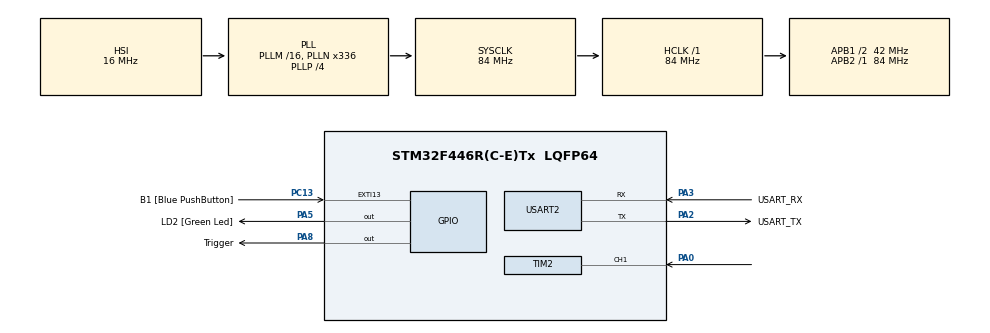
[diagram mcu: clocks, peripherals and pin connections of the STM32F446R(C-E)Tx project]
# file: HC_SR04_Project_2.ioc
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Mcu.Family=STM32F4
Mcu.Name=STM32F446R(C-E)Tx
Mcu.Package=LQFP64
NVIC.PriorityGroup=NVIC_PRIORITYGROUP_0
NVIC.TIM2_IRQn=true\:0\:0\:false\:false\:true\:true\:true
PA0-WKUP.Signal=S_TIM2_CH1_ETR
PA13.GPIO_Label=TMS
PA13.Mode=Serial_Wire
PA13.Signal=SYS_JTMS-SWDIO
PA14.GPIO_Label=TCK
PA14.Mode=Serial_Wire
PA14.Signal=SYS_JTCK-SWCLK
PA2.GPIO_Label=USART_TX
PA2.Mode=Asynchronous
PA2.Signal=USART2_TX
PA3.GPIO_Label=USART_RX
PA3.Mode=Asynchronous
PA3.Signal=USART2_RX
PA5.GPIO_Label=LD2 [Green Led]
PA5.Signal=GPIO_Output
PA8.GPIO_Label=Trigger
PA8.Signal=GPIO_Output
PB3.GPIO_Label=SWO
PB3.Signal=SYS_JTDO-SWO
PC13.GPIO_Label=B1 [Blue PushButton]
PC13.GPIO_ModeDefaultEXTI=GPIO_MODE_IT_FALLING
PC13.Signal=GPXTI13
PC14-OSC32_IN.Signal=RCC_OSC32_IN
PC15-OSC32_OUT.Signal=RCC_OSC32_OUT
PH0-OSC_IN.Signal=RCC_OSC_IN
PH1-OSC_OUT.Signal=RCC_OSC_OUT
ProjectManager.HeapSize=0x200
ProjectManager.StackSize=0x400
ProjectManager.TargetToolchain=STM32CubeIDE
RCC.48MHZClocksFreq_Value=84000000
RCC.AHBFreq_Value=84000000
RCC.APB1CLKDivider=RCC_HCLK_DIV2
RCC.APB1Freq_Value=42000000
RCC.APB1TimFreq_Value=84000000
RCC.APB2Freq_Value=84000000
RCC.APB2TimFreq_Value=84000000
RCC.CortexFreq_Value=84000000
RCC.FLatency-AdvancedSettings=FLASH_LATENCY_2
RCC.HCLKFreq_Value=84000000
RCC.HSE_VALUE=8000000
RCC.HSI_VALUE=16000000
RCC.PLLN=336
RCC.PLLP=RCC_PLLP_DIV4
RCC.SYSCLKFreq_VALUE=84000000
RCC.SYSCLKSource=RCC_SYSCLKSOURCE_PLLCLK
RCC.USBFreq_Value=168000000
RCC.VCOOutputFreq_Value=336000000
SH.S_TIM2_CH1_ETR.0=TIM2_CH1,Input_Capture1_from_TI1
TIM2.Channel-Input_Capture1_from_TI1=TIM_CHANNEL_1
TIM2.ICFilter_CH1=5
TIM2.ICPolarity_CH1=TIM_INPUTCHANNELPOLARITY_BOTHEDGE
TIM2.Period=0xffffffff
TIM2.Prescaler=84-1
TIM2.TIM_MasterOutputTrigger=TIM_TRGO_RESET
TIM3.Period=0
TIM3.Prescaler=84-1
USART2.VirtualMode=VM_ASYNC
VP_TIM2_VS_ClockSourceINT.Mode=Internal
VP_TIM3_VS_ClockSourceINT.Mode=Internal
board=NUCLEO-F446RE

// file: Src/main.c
/* USER CODE BEGIN Header */
/**
  ******************************************************************************
  * @file           : main.c
  * @brief          : Main program body
  ******************************************************************************
  * @attention
  *
  * <h2><center>&copy; Copyright (c) 2020 STMicroelectronics.
  * All rights reserved.</center></h2>
  *
  * This software component is licensed by ST under BSD 3-Clause license,
  * the "License"; You may not use this file except in compliance with the
  * License. You may obtain a copy of the License at:
  *                        opensource.org/licenses/BSD-3-Clause
  *
  ******************************************************************************
  */
/* USER CODE END Header */

#include "main.h"

/* USER CODE BEGIN Includes */
#include <stdio.h>
#include <string.h>
/* USER CODE END Includes */

/* USER CODE BEGIN PTD */
typedef enum eedges {rising_Edge, falling_Edge, unknown_Edge} edges_E;
/* USER CODE END PTD */

/* USER CODE BEGIN PD */
#define HC_SR04_ECHOCAPTURE_RESET 		0U
#define HC_SR04_ECHOCAPTURE_COMPLETE 	1U
#define HC_SR04_US_TIMER				TIM3 // used for microsecond delay function
//#define HC_SR04_USE_FLOAT //use floating point to calculate the distance
#define HC_SR04_UART_BUFFER_SIZE		100U // 100 characters
/* USER CODE END PD */

TIM_HandleTypeDef htim2;
TIM_HandleTypeDef htim3;

UART_HandleTypeDef huart2;

/* USER CODE BEGIN PV */
uint8_t ecFlag 						= HC_SR04_ECHOCAPTURE_RESET;
edges_E edgeDirection 				= rising_Edge;
uint32_t risingEdgeCounterValue		= 0;
uint32_t fallingEdgeCounterValue	= 0;

char uartBuffer[HC_SR04_UART_BUFFER_SIZE] = {0};

#ifdef HC_SR04_USE_FLOAT
/* Speed of sound 0.0343 centimeter / microsecond, we divide it by 2
 * because of the time the signal is sent out half of the time and reflected back the other half
 */
const float speedOfSoundAir = 0.0343 / 2;
float distance = 0.0;
#else
// Speed of sound in us multiplied by 1024 to not work with floating variables is 35 (0.0343 * 1024 = 35.1232)
const uint8_t speedOfSoundAir = 35;
uint16_t distance = 0;
#endif
/* USER CODE END PV */

void SystemClock_Config(void);
static void MX_GPIO_Init(void);
static void MX_USART2_UART_Init(void);
static void MX_TIM3_Init(void);
static void MX_TIM2_Init(void);
/* USER CODE BEGIN PFP */
void DelayMicroseconds(uint32_t uSec);
void Read_Distance(void);
/* USER CODE END PFP */

int main(void)
{

  /* MCU Configuration--------------------------------------------------------*/

  /* Reset of all peripherals, Initializes the Flash interface and the Systick. */
  HAL_Init();

  /* Configure the system clock */
  SystemClock_Config();

  /* Initialize all configured peripherals */
  MX_GPIO_Init();
  MX_USART2_UART_Init();
  MX_TIM3_Init();
  MX_TIM2_Init();

  /* Infinite loop */
  while (1)
  {

    /* USER CODE BEGIN 3 */
	//Read distance
	Read_Distance();

	// Delay the readings by 1 second
	HAL_Delay(1000); // 1000ms = 1s
  }
  /* USER CODE END 3 */
}

void SystemClock_Config(void)
{
  RCC_OscInitTypeDef RCC_OscInitStruct = {0};
  RCC_ClkInitTypeDef RCC_ClkInitStruct = {0};

  /** Configure the main internal regulator output voltage
  */
  __HAL_RCC_PWR_CLK_ENABLE();
  __HAL_PWR_VOLTAGESCALING_CONFIG(PWR_REGULATOR_VOLTAGE_SCALE3);
  /** Initializes the CPU, AHB and APB busses clocks
  */
  RCC_OscInitStruct.OscillatorType = RCC_OSCILLATORTYPE_HSI;
  RCC_OscInitStruct.HSIState = RCC_HSI_ON;
  RCC_OscInitStruct.HSICalibrationValue = RCC_HSICALIBRATION_DEFAULT;
  RCC_OscInitStruct.PLL.PLLState = RCC_PLL_ON;
  RCC_OscInitStruct.PLL.PLLSource = RCC_PLLSOURCE_HSI;
  RCC_OscInitStruct.PLL.PLLM = 16;
  RCC_OscInitStruct.PLL.PLLN = 336;
  RCC_OscInitStruct.PLL.PLLP = RCC_PLLP_DIV4;
  RCC_OscInitStruct.PLL.PLLQ = 2;
  RCC_OscInitStruct.PLL.PLLR = 2;
  if (HAL_RCC_OscConfig(&RCC_OscInitStruct) != HAL_OK)
  {
    Error_Handler();
  }
  /** Initializes the CPU, AHB and APB busses clocks
  */
  RCC_ClkInitStruct.ClockType = RCC_CLOCKTYPE_HCLK|RCC_CLOCKTYPE_SYSCLK
                              |RCC_CLOCKTYPE_PCLK1|RCC_CLOCKTYPE_PCLK2;
  RCC_ClkInitStruct.SYSCLKSource = RCC_SYSCLKSOURCE_PLLCLK;
  RCC_ClkInitStruct.AHBCLKDivider = RCC_SYSCLK_DIV1;
  RCC_ClkInitStruct.APB1CLKDivider = RCC_HCLK_DIV2;
  RCC_ClkInitStruct.APB2CLKDivider = RCC_HCLK_DIV1;

  if (HAL_RCC_ClockConfig(&RCC_ClkInitStruct, FLASH_LATENCY_2) != HAL_OK)
  {
    Error_Handler();
  }
}

static void MX_TIM2_Init(void)
{

  TIM_ClockConfigTypeDef sClockSourceConfig = {0};
  TIM_MasterConfigTypeDef sMasterConfig = {0};
  TIM_IC_InitTypeDef sConfigIC = {0};

  htim2.Instance = TIM2;
  htim2.Init.Prescaler = 84-1;
  htim2.Init.CounterMode = TIM_COUNTERMODE_UP;
  htim2.Init.Period = 0xffffffff;
  htim2.Init.ClockDivision = TIM_CLOCKDIVISION_DIV1;
  htim2.Init.AutoReloadPreload = TIM_AUTORELOAD_PRELOAD_DISABLE;
  if (HAL_TIM_Base_Init(&htim2) != HAL_OK)
  {
    Error_Handler();
  }
  sClockSourceConfig.ClockSource = TIM_CLOCKSOURCE_INTERNAL;
  if (HAL_TIM_ConfigClockSource(&htim2, &sClockSourceConfig) != HAL_OK)
  {
    Error_Handler();
  }
  if (HAL_TIM_IC_Init(&htim2) != HAL_OK)
  {
    Error_Handler();
  }
  sMasterConfig.MasterOutputTrigger = TIM_TRGO_RESET;
  sMasterConfig.MasterSlaveMode = TIM_MASTERSLAVEMODE_DISABLE;
  if (HAL_TIMEx_MasterConfigSynchronization(&htim2, &sMasterConfig) != HAL_OK)
  {
    Error_Handler();
  }
  sConfigIC.ICPolarity = TIM_INPUTCHANNELPOLARITY_BOTHEDGE;
  sConfigIC.ICSelection = TIM_ICSELECTION_DIRECTTI;
  sConfigIC.ICPrescaler = TIM_ICPSC_DIV1;
  sConfigIC.ICFilter = 5;
  if (HAL_TIM_IC_ConfigChannel(&htim2, &sConfigIC, TIM_CHANNEL_1) != HAL_OK)
  {
    Error_Handler();
  }

}

static void MX_TIM3_Init(void)
{

  TIM_ClockConfigTypeDef sClockSourceConfig = {0};
  TIM_MasterConfigTypeDef sMasterConfig = {0};

  htim3.Instance = TIM3;
  htim3.Init.Prescaler = 84-1;
  htim3.Init.CounterMode = TIM_COUNTERMODE_UP;
  htim3.Init.Period = 0;
  htim3.Init.ClockDivision = TIM_CLOCKDIVISION_DIV1;
  htim3.Init.AutoReloadPreload = TIM_AUTORELOAD_PRELOAD_DISABLE;
  if (HAL_TIM_Base_Init(&htim3) != HAL_OK)
  {
    Error_Handler();
  }
  sClockSourceConfig.ClockSource = TIM_CLOCKSOURCE_INTERNAL;
  if (HAL_TIM_ConfigClockSource(&htim3, &sClockSourceConfig) != HAL_OK)
  {
    Error_Handler();
  }
  sMasterConfig.MasterOutputTrigger = TIM_TRGO_RESET;
  sMasterConfig.MasterSlaveMode = TIM_MASTERSLAVEMODE_DISABLE;
  if (HAL_TIMEx_MasterConfigSynchronization(&htim3, &sMasterConfig) != HAL_OK)
  {
    Error_Handler();
  }

}

static void MX_USART2_UART_Init(void)
{

  huart2.Instance = USART2;
  huart2.Init.BaudRate = 115200;
  huart2.Init.WordLength = UART_WORDLENGTH_8B;
  huart2.Init.StopBits = UART_STOPBITS_1;
  huart2.Init.Parity = UART_PARITY_NONE;
  huart2.Init.Mode = UART_MODE_TX_RX;
  huart2.Init.HwFlowCtl = UART_HWCONTROL_NONE;
  huart2.Init.OverSampling = UART_OVERSAMPLING_16;
  if (HAL_UART_Init(&huart2) != HAL_OK)
  {
    Error_Handler();
  }

}

static void MX_GPIO_Init(void)
{
  GPIO_InitTypeDef GPIO_InitStruct = {0};

  /* GPIO Ports Clock Enable */
  __HAL_RCC_GPIOC_CLK_ENABLE();
  __HAL_RCC_GPIOH_CLK_ENABLE();
  __HAL_RCC_GPIOA_CLK_ENABLE();
  __HAL_RCC_GPIOB_CLK_ENABLE();

  /*Configure GPIO pin Output Level */
  HAL_GPIO_WritePin(GPIOA, LD2_Pin|Trigger_Pin, GPIO_PIN_RESET);

  /*Configure GPIO pin : B1_Pin */
  GPIO_InitStruct.Pin = B1_Pin;
  GPIO_InitStruct.Mode = GPIO_MODE_IT_FALLING;
  GPIO_InitStruct.Pull = GPIO_NOPULL;
  HAL_GPIO_Init(B1_GPIO_Port, &GPIO_InitStruct);

  /*Configure GPIO pins : LD2_Pin Trigger_Pin */
  GPIO_InitStruct.Pin = LD2_Pin|Trigger_Pin;
  GPIO_InitStruct.Mode = GPIO_MODE_OUTPUT_PP;
  GPIO_InitStruct.Pull = GPIO_NOPULL;
  GPIO_InitStruct.Speed = GPIO_SPEED_FREQ_LOW;
  HAL_GPIO_Init(GPIOA, &GPIO_InitStruct);

}

/* USER CODE BEGIN 4 */
/* *
 * Functions taken from MYaqoobEmbedded channel
 * https://www.youtube.com/channel/UC-CuJ6qKst9-8Z-EXjoYK3Q/videos
 * */
void DelayMicroseconds(uint32_t uSec)
{
	uint32_t luSec = 0;

	if(uSec < 2u)
	{
		luSec = 2;
	}
	else
	{
		luSec = uSec;
	}

	HC_SR04_US_TIMER->ARR = luSec - 1; 	//sets the value in the auto-reload register
	HC_SR04_US_TIMER->EGR = 1; 			//Re-initializes the timer
	HC_SR04_US_TIMER->SR &= ~1; 			//Resets the flag
	HC_SR04_US_TIMER->CR1 |= 1; 			//Enables the counter
	while((HC_SR04_US_TIMER->SR&0x0001) != 1);
	HC_SR04_US_TIMER->SR &= ~(0x0001);
}

/* Callback function used for capture, it will overwrite the weak function
 * __weak void HAL_TIM_IC_CaptureCallback(TIM_HandleTypeDef *htim) from stm32f4xx_hal_tim.c
 */
void HAL_TIM_IC_CaptureCallback(TIM_HandleTypeDef *htim)
{
	// Toggle led to see that the capture is happening
	HAL_GPIO_TogglePin(GPIOA, LD2_Pin);

	// First call of the interrupt on rising edge is with edgeDirection = 0
	if(edgeDirection == rising_Edge) //First edge
	{
		// First captured value
		risingEdgeCounterValue = HAL_TIM_ReadCapturedValue(htim, TIM_CHANNEL_1);
		edgeDirection = falling_Edge; // set next edge direction
	}
	// Second call of the interrupt on falling edge is with edgeDirection = 1
	else if(edgeDirection == falling_Edge) //Second edge
	{
		// Second captured value
		fallingEdgeCounterValue = HAL_TIM_ReadCapturedValue(htim, TIM_CHANNEL_1);
		edgeDirection = rising_Edge; // set next edge direction
		// Indicate that the width of pulse was measured
		ecFlag = HC_SR04_ECHOCAPTURE_COMPLETE;
	}
}

void Read_Distance(void)
{
	//0. Set trigger pin to low for a short time, to be sure is low
	HAL_GPIO_WritePin(GPIOA, Trigger_Pin, GPIO_PIN_RESET);
	DelayMicroseconds(3);

	//1. Trigger 8 pulse burst
	HAL_GPIO_WritePin(GPIOA, Trigger_Pin, GPIO_PIN_SET);
	DelayMicroseconds(10);
	HAL_GPIO_WritePin(GPIOA, Trigger_Pin, GPIO_PIN_RESET);

	//2. Measure ECHO signal pulse width
	//Start IC timer
	HAL_TIM_IC_Start_IT(&htim2, TIM_CHANNEL_1);
	//Wait for IC flag
	uint32_t startTick = HAL_GetTick();
	do
	{
		if(ecFlag) break; // ecFlag is set on falling edge of ECHO pin
	}while((HAL_GetTick() - startTick) < 500); // 500ms Timeout to break from while

	ecFlag = HC_SR04_ECHOCAPTURE_RESET; // Reset ecFlag for next measurement
	//Stop IC timer
	HAL_TIM_IC_Stop_IT(&htim2, TIM_CHANNEL_1);

	//Calculate distance in cm
	if(fallingEdgeCounterValue > risingEdgeCounterValue)
	{
		#ifdef HC_SR04_USE_FLOAT
			distance = ((fallingEdgeCounterValue - risingEdgeCounterValue) + 0.0f) * speedOfSoundAir;
		#else
			// Calculate distance using bit operation, distance will have a lower resolution than floating points
			// When you shift left you multiply with 2^shift value
			// When you shift right you divide by 2^shift value
			distance = ((((fallingEdgeCounterValue - risingEdgeCounterValue) * speedOfSoundAir) >> 10u) >> 1u);
		#endif
	}
	else
	{
		#ifdef HC_SR04_USE_FLOAT
			distance = 0.0;
		#else
			distance = 0;
		#endif
	}

	//Print to UART terminal for debugging
#ifdef HC_SR04_USE_FLOAT
	// Create string to send over UART
	sprintf(uartBuffer, "Distance = %.1fcm, %ld, %ld \r\n", distance, fallingEdgeCounterValue, risingEdgeCounterValue);
#else
	// Create string to send over UART
	sprintf(uartBuffer, "Distance = %dcm, %ld, %ld \r\n", distance, fallingEdgeCounterValue, risingEdgeCounterValue);
#endif
	// Print distance over UART, timeout 100ms
	HAL_UART_Transmit(&huart2, (uint8_t *)uartBuffer, strlen(uartBuffer), 100);
}
/* USER CODE END 4 */

void Error_Handler(void)
{
}

/************************ (C) COPYRIGHT STMicroelectronics *****END OF FILE****/
